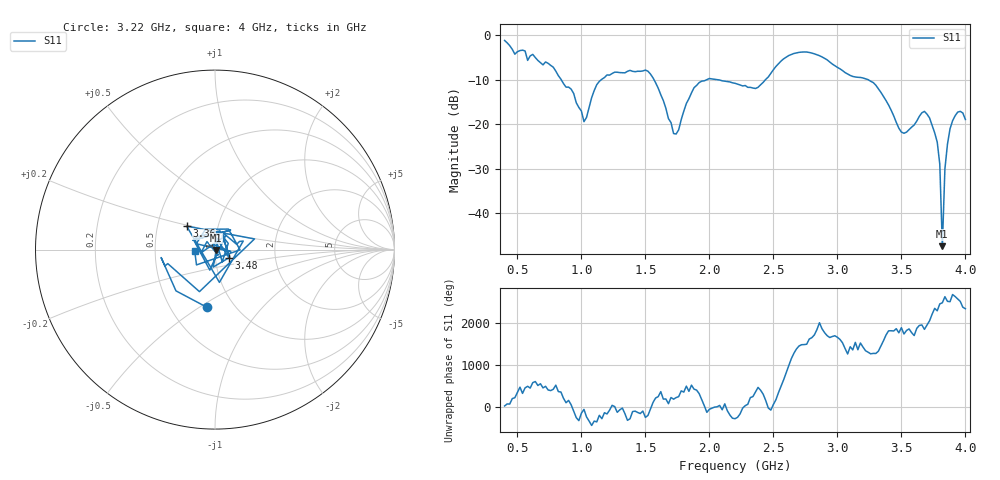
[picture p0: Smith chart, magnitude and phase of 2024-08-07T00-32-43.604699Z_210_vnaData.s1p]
!Created with skrf (http://scikit-rf.org).
# Hz S RI R 50.0
!freq ReS11 ImS11
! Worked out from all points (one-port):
!   181 points, 400 MHz to 4 GHz, reference 50 ohm
!   lowest |S11| = -47.3 dB at 3.82 GHz (marker M1), VSWR 1.01, Z = 50.4 - j0.235 ohm
!   |S11| at or under -10 dB: 1.567 GHz to 1.98 GHz (412.8 MHz wide, 23.3 % of centre); 2.063 GHz to 2.438 GHz (375.3 MHz wide, 16.7 % of centre); 3.24 GHz to end of sweep (the widest 3 of 4)
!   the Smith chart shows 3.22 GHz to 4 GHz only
!   S11 on the Smith chart (normalised r, x): 3.22 GHz: 0.75, -0.53; 3.36 GHz: 0.71, +0.19; 3.48 GHz: 1.16, -0.11; 4 GHz: 0.80, -0.02
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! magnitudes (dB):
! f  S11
! 400 MHz  -1.2
! 740 MHz  -6.3
! 860 MHz  -10.9
! 940 MHz  -13.1
! 1.02 GHz  -19.4
! 1.12 GHz  -11.1
! 1.3 GHz  -8.4
! 1.52 GHz  -8.1
! 1.72 GHz  -22.1
! 1.76 GHz  -21.2
! 1.82 GHz  -15.3
! 1.92 GHz  -10.7
! 2.2 GHz  -10.8
! 2.38 GHz  -11.7
! 2.66 GHz  -4.1
! 3.1 GHz  -9.0
! 3.22 GHz  -9.8
! 3.36 GHz  -13.8
! 3.48 GHz  -20.9
! 3.56 GHz  -21.2
! 3.68 GHz  -17.1
! 3.76 GHz  -21.9
! 3.8 GHz  -29.0
! 3.82 GHz  -47.3
! 3.84 GHz  -30.0
! 3.88 GHz  -21.0
! 3.94 GHz  -17.3
! 4 GHz  -18.9
